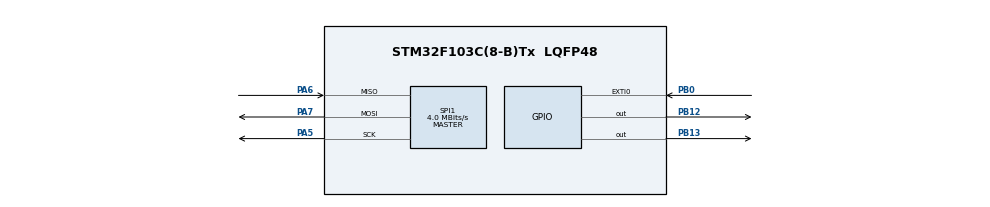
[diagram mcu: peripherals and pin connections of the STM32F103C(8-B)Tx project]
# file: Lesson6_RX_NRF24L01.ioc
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Mcu.Family=STM32F1
Mcu.Name=STM32F103C(8-B)Tx
Mcu.Package=LQFP48
NVIC.PriorityGroup=NVIC_PRIORITYGROUP_4
PA13.Mode=Serial_Wire
PA13.Signal=SYS_JTMS-SWDIO
PA14.Mode=Serial_Wire
PA14.Signal=SYS_JTCK-SWCLK
PA5.Mode=Full_Duplex_Master
PA5.Signal=SPI1_SCK
PA6.Mode=Full_Duplex_Master
PA6.Signal=SPI1_MISO
PA7.Mode=Full_Duplex_Master
PA7.Signal=SPI1_MOSI
PB0.GPIO_ModeDefaultEXTI=GPIO_MODE_IT_FALLING
PB0.Signal=GPXTI0
PB12.Signal=GPIO_Output
PB13.Signal=GPIO_Output
ProjectManager.HeapSize=0x200
ProjectManager.StackSize=0x400
ProjectManager.TargetToolchain=STM32CubeIDE
RCC.APB1Freq_Value=8000000
RCC.APB2Freq_Value=8000000
SPI1.BaudRatePrescaler=SPI_BAUDRATEPRESCALER_2
SPI1.CalculateBaudRate=4.0 MBits/s
SPI1.Direction=SPI_DIRECTION_2LINES
SPI1.Mode=SPI_MODE_MASTER
SPI1.VirtualType=VM_MASTER
VP_TIM1_VS_ClockSourceINT.Mode=Internal
board=custom

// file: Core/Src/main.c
/* USER CODE BEGIN Header */
/**
  ******************************************************************************
  * @file           : main.c
  * @brief          : Main program body
  ******************************************************************************
  * @attention
  *
  * Copyright (c) 2026 STMicroelectronics.
  * All rights reserved.
  *
  * This software is licensed under terms that can be found in the LICENSE file
  * in the root directory of this software component.
  * If no LICENSE file comes with this software, it is provided AS-IS.
  *
  ******************************************************************************
  */
/* USER CODE END Header */
#include "main.h"

/* USER CODE BEGIN Includes */
#include "NRF24.h"
#include "NRF24_reg_addresses.h"
/* USER CODE END Includes */

SPI_HandleTypeDef hspi1;

TIM_HandleTypeDef htim1;

void SystemClock_Config(void);
static void MX_GPIO_Init(void);
static void MX_SPI1_Init(void);
static void MX_TIM1_Init(void);

/* USER CODE BEGIN 0 */

#define PLD_S 32

uint8_t tx_addr[5] = {0x45, 0x55, 0x67, 0x10, 0x21};

uint16_t data = 0;

uint8_t dataR[PLD_S];

/* USER CODE END 0 */

int main(void)
{

  /* MCU Configuration--------------------------------------------------------*/

  /* Reset of all peripherals, Initializes the Flash interface and the Systick. */
  HAL_Init();

  /* Configure the system clock */
  SystemClock_Config();

  /* Initialize all configured peripherals */
  MX_GPIO_Init();
  MX_SPI1_Init();
  MX_TIM1_Init();
  /* USER CODE BEGIN 2 */

  csn_high();
  ce_high();

  HAL_Delay(5);

  ce_low();

  nrf24_init();

  uint8_t status = nrf24_r_status();

  nrf24_listen();

  nrf24_auto_ack_all(auto_ack);
  nrf24_en_ack_pld(disable);
  nrf24_dpl(disable);

  nrf24_set_crc(no_crc, _1byte);

  nrf24_tx_pwr(_0dbm);
  nrf24_data_rate(_1mbps);
  nrf24_set_channel(90);
  nrf24_set_addr_width(5);

  nrf24_set_rx_dpl(0, disable);
  nrf24_set_rx_dpl(1, disable);
  nrf24_set_rx_dpl(2, disable);
  nrf24_set_rx_dpl(3, disable);
  nrf24_set_rx_dpl(4, disable);
  nrf24_set_rx_dpl(5, disable);

  nrf24_pipe_pld_size(0, PLD_S);

  nrf24_auto_retr_delay(4);
  nrf24_auto_retr_limit(10);

  nrf24_open_tx_pipe(tx_addr);
  nrf24_open_rx_pipe(0, tx_addr);
  ce_high();

  __HAL_RCC_GPIOC_CLK_ENABLE();
	GPIO_InitTypeDef GPIO_InitStruct;
	GPIO_InitStruct.Pin = GPIO_PIN_13;
	GPIO_InitStruct.Mode = GPIO_MODE_OUTPUT_PP;
	GPIO_InitStruct.Speed = GPIO_SPEED_FREQ_LOW;
	HAL_GPIO_Init(GPIOC, &GPIO_InitStruct);
	HAL_GPIO_WritePin(GPIOC, GPIO_PIN_13, GPIO_PIN_SET);

  /* USER CODE END 2 */

  /* Infinite loop */
	while (1) {

		/* USER CODE BEGIN 3 */

		HAL_GPIO_TogglePin(GPIOC, GPIO_PIN_13);
		HAL_Delay(100);

		nrf24_listen();

		if (nrf24_data_available()) {
			nrf24_receive(dataR, sizeof(dataR));
		}

		data = nrf24_uint8_t_to_type(dataR, sizeof(dataR));
	}
  /* USER CODE END 3 */
}

void SystemClock_Config(void)
{
  RCC_OscInitTypeDef RCC_OscInitStruct = {0};
  RCC_ClkInitTypeDef RCC_ClkInitStruct = {0};

  /** Initializes the RCC Oscillators according to the specified parameters
  * in the RCC_OscInitTypeDef structure.
  */
  RCC_OscInitStruct.OscillatorType = RCC_OSCILLATORTYPE_HSI;
  RCC_OscInitStruct.HSIState = RCC_HSI_ON;
  RCC_OscInitStruct.HSICalibrationValue = RCC_HSICALIBRATION_DEFAULT;
  RCC_OscInitStruct.PLL.PLLState = RCC_PLL_NONE;
  if (HAL_RCC_OscConfig(&RCC_OscInitStruct) != HAL_OK)
  {
    Error_Handler();
  }

  /** Initializes the CPU, AHB and APB buses clocks
  */
  RCC_ClkInitStruct.ClockType = RCC_CLOCKTYPE_HCLK|RCC_CLOCKTYPE_SYSCLK
                              |RCC_CLOCKTYPE_PCLK1|RCC_CLOCKTYPE_PCLK2;
  RCC_ClkInitStruct.SYSCLKSource = RCC_SYSCLKSOURCE_HSI;
  RCC_ClkInitStruct.AHBCLKDivider = RCC_SYSCLK_DIV1;
  RCC_ClkInitStruct.APB1CLKDivider = RCC_HCLK_DIV1;
  RCC_ClkInitStruct.APB2CLKDivider = RCC_HCLK_DIV1;

  if (HAL_RCC_ClockConfig(&RCC_ClkInitStruct, FLASH_LATENCY_0) != HAL_OK)
  {
    Error_Handler();
  }
}

static void MX_SPI1_Init(void)
{

  /* SPI1 parameter configuration*/
  hspi1.Instance = SPI1;
  hspi1.Init.Mode = SPI_MODE_MASTER;
  hspi1.Init.Direction = SPI_DIRECTION_2LINES;
  hspi1.Init.DataSize = SPI_DATASIZE_8BIT;
  hspi1.Init.CLKPolarity = SPI_POLARITY_LOW;
  hspi1.Init.CLKPhase = SPI_PHASE_1EDGE;
  hspi1.Init.NSS = SPI_NSS_SOFT;
  hspi1.Init.BaudRatePrescaler = SPI_BAUDRATEPRESCALER_2;
  hspi1.Init.FirstBit = SPI_FIRSTBIT_MSB;
  hspi1.Init.TIMode = SPI_TIMODE_DISABLE;
  hspi1.Init.CRCCalculation = SPI_CRCCALCULATION_DISABLE;
  hspi1.Init.CRCPolynomial = 10;
  if (HAL_SPI_Init(&hspi1) != HAL_OK)
  {
    Error_Handler();
  }

}

static void MX_TIM1_Init(void)
{

  TIM_ClockConfigTypeDef sClockSourceConfig = {0};
  TIM_MasterConfigTypeDef sMasterConfig = {0};

  htim1.Instance = TIM1;
  htim1.Init.Prescaler = 0;
  htim1.Init.CounterMode = TIM_COUNTERMODE_UP;
  htim1.Init.Period = 65535;
  htim1.Init.ClockDivision = TIM_CLOCKDIVISION_DIV1;
  htim1.Init.RepetitionCounter = 0;
  htim1.Init.AutoReloadPreload = TIM_AUTORELOAD_PRELOAD_DISABLE;
  if (HAL_TIM_Base_Init(&htim1) != HAL_OK)
  {
    Error_Handler();
  }
  sClockSourceConfig.ClockSource = TIM_CLOCKSOURCE_INTERNAL;
  if (HAL_TIM_ConfigClockSource(&htim1, &sClockSourceConfig) != HAL_OK)
  {
    Error_Handler();
  }
  sMasterConfig.MasterOutputTrigger = TIM_TRGO_RESET;
  sMasterConfig.MasterSlaveMode = TIM_MASTERSLAVEMODE_DISABLE;
  if (HAL_TIMEx_MasterConfigSynchronization(&htim1, &sMasterConfig) != HAL_OK)
  {
    Error_Handler();
  }

}

static void MX_GPIO_Init(void)
{
  GPIO_InitTypeDef GPIO_InitStruct = {0};

  /* GPIO Ports Clock Enable */
  __HAL_RCC_GPIOA_CLK_ENABLE();
  __HAL_RCC_GPIOB_CLK_ENABLE();

  /*Configure GPIO pin Output Level */
  HAL_GPIO_WritePin(GPIOB, GPIO_PIN_12|GPIO_PIN_13, GPIO_PIN_RESET);

  /*Configure GPIO pin : PB0 */
  GPIO_InitStruct.Pin = GPIO_PIN_0;
  GPIO_InitStruct.Mode = GPIO_MODE_IT_FALLING;
  GPIO_InitStruct.Pull = GPIO_NOPULL;
  HAL_GPIO_Init(GPIOB, &GPIO_InitStruct);

  /*Configure GPIO pins : PB12 PB13 */
  GPIO_InitStruct.Pin = GPIO_PIN_12|GPIO_PIN_13;
  GPIO_InitStruct.Mode = GPIO_MODE_OUTPUT_PP;
  GPIO_InitStruct.Pull = GPIO_NOPULL;
  GPIO_InitStruct.Speed = GPIO_SPEED_FREQ_LOW;
  HAL_GPIO_Init(GPIOB, &GPIO_InitStruct);

}

void Error_Handler(void)
{
  __disable_irq();
  while (1)
  {
  }
}
